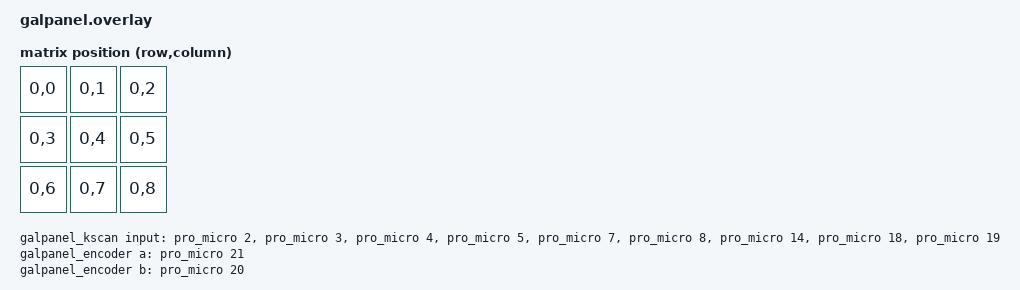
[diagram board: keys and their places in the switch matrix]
/*
 * GALPANEL V2.1 hardware description
 *
 * Copyright (c) 2026 GALPANEL contributors
 * SPDX-License-Identifier: MIT
 */

#include <dt-bindings/zmk/matrix_transform.h>
#include "galpanel-layouts.dtsi"

/ {
    chosen {
        zmk,kscan = &galpanel_kscan;
        zmk,physical-layout = &galpanel_physical_layout;
    };

    galpanel_transform: galpanel_transform {
        compatible = "zmk,matrix-transform";
        rows = <1>;
        columns = <9>;
        map = <
            RC(0,0) RC(0,1) RC(0,2)
            RC(0,3) RC(0,4) RC(0,5)
            RC(0,6) RC(0,7) RC(0,8)
        >;
    };

    galpanel_kscan: galpanel_kscan {
        compatible = "zmk,kscan-gpio-direct";
        wakeup-source;
        debounce-press-ms = <5>;
        debounce-release-ms = <5>;

        /*
         * 0 D2  KEY_FAST
         * 1 D3  KEY_AUTO
         * 2 D4  KEY_NEXT
         * 3 D5  KEY_QSAVE (right upper side key)
         * 4 D7  KEY_DESKTOP (right lower side key)
         * 5 D8  KEY_SYS
         * 6 D14 KEY_FN (left lower side key)
         * 7 D18 KEY_QLOAD (left upper side key)
         * 8 D19 ENC_SW
         */
        input-gpios
            = <&pro_micro  2 (GPIO_ACTIVE_LOW | GPIO_PULL_UP)>
            , <&pro_micro  3 (GPIO_ACTIVE_LOW | GPIO_PULL_UP)>
            , <&pro_micro  4 (GPIO_ACTIVE_LOW | GPIO_PULL_UP)>
            , <&pro_micro  5 (GPIO_ACTIVE_LOW | GPIO_PULL_UP)>
            , <&pro_micro  7 (GPIO_ACTIVE_LOW | GPIO_PULL_UP)>
            , <&pro_micro  8 (GPIO_ACTIVE_LOW | GPIO_PULL_UP)>
            , <&pro_micro 14 (GPIO_ACTIVE_LOW | GPIO_PULL_UP)>
            , <&pro_micro 18 (GPIO_ACTIVE_LOW | GPIO_PULL_UP)>
            , <&pro_micro 19 (GPIO_ACTIVE_LOW | GPIO_PULL_UP)>
            ;
    };

    galpanel_encoder: galpanel_encoder {
        compatible = "alps,ec11";
        a-gpios = <&pro_micro 21 (GPIO_ACTIVE_LOW | GPIO_PULL_UP)>;
        b-gpios = <&pro_micro 20 (GPIO_ACTIVE_LOW | GPIO_PULL_UP)>;
        /* 20-pulse EC11: four quadrature edges per pulse. */
        steps = <80>;
        status = "okay";
    };

    sensors: sensors {
        compatible = "zmk,keymap-sensors";
        sensors = <&galpanel_encoder>;
        triggers-per-rotation = <20>;
    };

    /*
     * These nodes document the V2.1 LED GPIOs. AUX is now driven by the
     * endpoint listener; the other status animations remain future work.
     * The physical R_LED_EN and LED_GND common disconnect remain hardware-only.
     */
    galpanel_leds: galpanel_leds {
        compatible = "gpio-leds";

        led_link: led_link {
            gpios = <&pro_micro 6 GPIO_ACTIVE_HIGH>;
            label = "GALPANEL LINK GREEN";
        };

        led_info: led_info {
            gpios = <&pro_micro 9 GPIO_ACTIVE_HIGH>;
            label = "GALPANEL INFO BLUE";
        };

        led_fn: led_fn {
            gpios = <&pro_micro 15 GPIO_ACTIVE_HIGH>;
            label = "GALPANEL FN WHITE";
        };

        led_warn: led_warn {
            gpios = <&pro_micro 1 GPIO_ACTIVE_HIGH>;
            label = "GALPANEL WARN RED";
        };

        led_aux: led_aux {
            gpios = <&pro_micro 0 GPIO_ACTIVE_HIGH>;
            label = "GALPANEL AUX BLUE";
        };
    };
};
